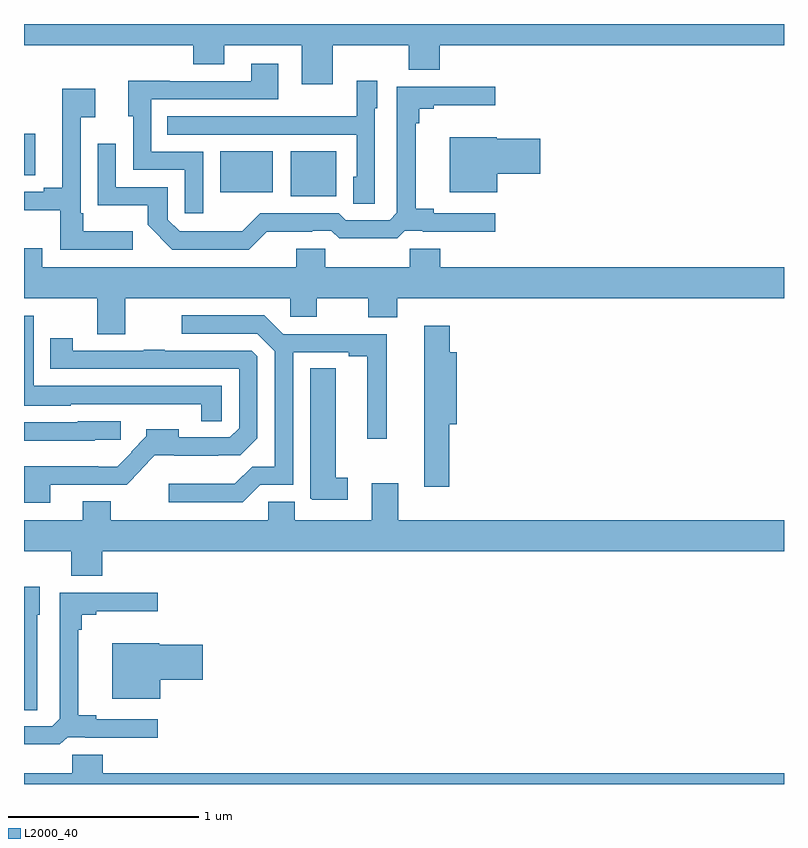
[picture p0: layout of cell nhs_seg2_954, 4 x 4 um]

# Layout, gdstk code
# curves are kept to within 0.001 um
import gdstk
lib = gdstk.Library(unit=1e-6, precision=1e-09)
def R(c, l, rs):  # rectangles x0, y0, x1, y1
    for r in rs: c.add(gdstk.rectangle(r[:2], r[2:], *l))
def P(c, l, *ps):  # polygons
    for p in ps: c.add(gdstk.Polygon(p, *l))
L2000_40 = (2000, 40)

nhs_seg2_954 = lib.new_cell('nhs_seg2_954')
R(nhs_seg2_954, L2000_40, [(162.404,594.893,162.643,595.129), (162.032,594.914,162.31,595.129), (161,595.003,161.059,595.222)])
P(nhs_seg2_954, L2000_40, [(162.625,595.688),(163.025,595.688),(163.025,595.56),(163.189,595.56),(163.189,595.688),(165,595.688),(165,595.8),(161,595.8),(161,595.688),(161.891,595.688),(161.891,595.589),(162.055,595.589),(162.055,595.688),(162.461,595.688),(162.461,595.482),(162.625,595.482)],
  [(161.943,595.128),(161.67,595.128),(161.67,595.404),(162.337,595.404),(162.337,595.591),(162.197,595.591),(162.197,595.5),(161.767,595.5),(161.767,595.502),(161.549,595.502),(161.549,595.314),(161.574,595.314),(161.574,595.032),(161.847,595.032),(161.847,594.804),(161.943,594.804)],
  [(162.846,595.356),(162.859,595.356),(162.859,595.501),(162.75,595.501),(162.75,595.315),(162.433,595.315),(162.433,595.314),(161.755,595.314),(161.755,595.218),(162.75,595.218),(162.75,594.996),(162.734,594.996),(162.734,594.853),(162.846,594.853)],
  [(162.278,594.707),(162.518,594.707),(162.518,594.711),(162.618,594.711),(162.658,594.672),(162.965,594.672),(163.005,594.711),(163.099,594.711),(163.099,594.707),(163.48,594.707),(163.48,594.804),(163.156,594.804),(163.156,594.827),(163.061,594.827),(163.061,595.277),(163.079,595.277),(163.079,595.354),(163.156,595.354),(163.156,595.373),(163.48,595.373),(163.48,595.47),(162.963,595.47),(162.963,594.807),(162.924,594.768),(162.693,594.768),(162.657,594.804),(162.243,594.804),(162.149,594.71),(162.044,594.71),(162.044,594.708),(161.82,594.708),(161.757,594.771),(161.757,594.942),(161.484,594.942),(161.484,595.171),(161.388,595.171),(161.388,594.845),(161.65,594.845),(161.65,594.743),(161.78,594.612),(162.183,594.612)],
  [(161.572,594.709),(161.311,594.709),(161.311,594.805),(161.298,594.805),(161.298,595.31),(161.374,595.31),(161.374,595.459),(161.201,595.459),(161.201,594.937),(161.105,594.937),(161.105,594.918),(161,594.918),(161,594.821),(161.19,594.821),(161.19,594.612),(161.572,594.612)],
  [(163.492,595.013),(163.717,595.013),(163.717,595.196),(163.488,595.196),(163.488,595.204),(163.241,595.204),(163.241,594.914),(163.492,594.914)],
  [(161.533,594.356),(162.402,594.356),(162.402,594.258),(162.541,594.258),(162.541,594.356),(162.812,594.356),(162.812,594.257),(162.965,594.257),(162.965,594.356),(165,594.356),(165,594.52),(163.19,594.52),(163.19,594.618),(163.03,594.618),(163.03,594.52),(162.585,594.52),(162.585,594.618),(162.434,594.618),(162.434,594.52),(161.095,594.52),(161.095,594.619),(161,594.619),(161,594.356),(161.386,594.356),(161.386,594.166),(161.533,594.166)],
  [(162.243,593.376),(162.417,593.376),(162.417,594.072),(162.71,594.072),(162.71,594.052),(162.806,594.052),(162.806,593.616),(162.91,593.616),(162.91,594.168),(162.364,594.168),(162.265,594.267),(161.829,594.267),(161.829,594.171),(162.228,594.171),(162.321,594.078),(162.321,593.471),(162.2,593.471),(162.109,593.38),(161.763,593.38),(161.763,593.283),(162.15,593.283)],
  [(162.042,593.895),(161.052,593.895),(161.052,594.264),(161,594.264),(161,593.792),(161.247,593.792),(161.247,593.799),(161.679,593.799),(161.679,593.798),(161.934,593.798),(161.934,593.71),(162.042,593.71)],
  [(163.238,593.693),(163.277,593.693),(163.277,594.073),(163.241,594.073),(163.241,594.211),(163.106,594.211),(163.106,593.364),(163.238,593.364)],
  [(161.137,593.376),(161.541,593.376),(161.617,593.453),(161.615,593.455),(161.689,593.529),(162.023,593.528),(162.023,593.53),(162.139,593.53),(162.228,593.619),(162.228,594.051),(162.198,594.081),(161.741,594.081),(161.741,594.086),(161.629,594.086),(161.629,594.081),(161.256,594.081),(161.256,594.145),(161.137,594.145),(161.137,593.985),(162.132,593.985),(162.132,593.673),(162.084,593.625),(161.815,593.625),(161.815,593.668),(161.644,593.668),(161.644,593.629),(161.565,593.55),(161.568,593.547),(161.492,593.471),(161.39,593.471),(161.39,593.473),(161,593.473),(161,593.28),(161.137,593.28)],
  [(162.703,593.411),(162.64,593.411),(162.64,593.987),(162.506,593.987),(162.506,593.305),(162.516,593.295),(162.703,593.295)],
  [(161.373,593.613),(161.508,593.613),(161.508,593.709),(161.283,593.709),(161.283,593.703),(161,593.703),(161,593.606),(161.373,593.606)],
  [(161.413,593.024),(165,593.024),(165,593.188),(162.97,593.188),(162.97,593.383),(162.83,593.383),(162.83,593.188),(162.424,593.188),(162.424,593.286),(162.285,593.286),(162.285,593.188),(161.457,593.188),(161.457,593.287),(161.309,593.287),(161.309,593.188),(161,593.188),(161,593.024),(161.249,593.024),(161.249,592.896),(161.413,592.896)],
  [(161.07,592.692),(161.083,592.692),(161.083,592.837),(161,592.837),(161,592.189),(161.07,592.189)],
  [(161.229,592.047),(161.323,592.047),(161.323,592.043),(161.704,592.043),(161.704,592.14),(161.38,592.14),(161.38,592.163),(161.285,592.163),(161.285,592.613),(161.303,592.613),(161.303,592.69),(161.38,592.69),(161.38,592.709),(161.704,592.709),(161.704,592.806),(161.187,592.806),(161.187,592.143),(161.148,592.104),(161,592.104),(161,592.008),(161.189,592.008)],
  [(161.716,592.349),(161.941,592.349),(161.941,592.532),(161.712,592.532),(161.712,592.54),(161.465,592.54),(161.465,592.25),(161.716,592.25)],
  [(165,591.856),(161.414,591.856),(161.414,591.954),(161.254,591.954),(161.254,591.856),(161,591.856),(161,591.8),(165,591.8)])

lib.write_gds('nhs_seg2_954.gds')
